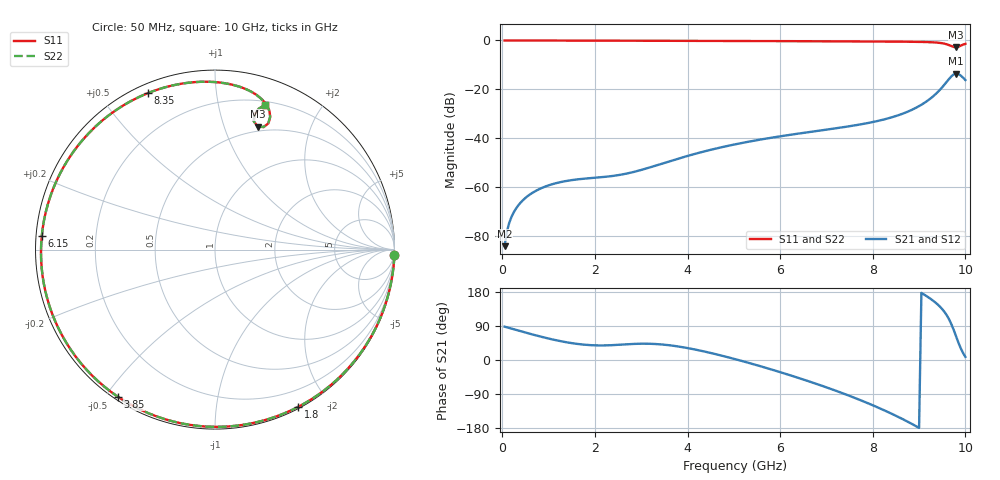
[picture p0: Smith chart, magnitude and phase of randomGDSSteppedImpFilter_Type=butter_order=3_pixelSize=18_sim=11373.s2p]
! freq	dB(S11)	phase(S11)	dB(S12)	phase(S12)
!  dB(S21)	phase(S21)	dB(S22)	phase(S22)
!S-par simulation data
#  GHz  S  DB  R 50
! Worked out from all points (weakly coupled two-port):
!   200 points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, 50 MHz to 10 GHz, reference 50 ohm
!   highest |S21| = -13.51 dB at 9.8 GHz (marker M1); lowest = -84.0 dB at 50 MHz (marker M2)
!   lowest |S11| = -2.8 dB at 9.8 GHz (marker M3), VSWR 6.29, Z = 22.5 + j65.2 ohm
!   |S11| at or under -10 dB: nowhere
!   |S22| runs from -2.8 to 0.0 dB; largest |S21 - S12| = 0
!   S11 on the Smith chart (normalised r, x): 50 MHz: 0, -64; 1.8 GHz: 0.02, -1.66; 3.85 GHz: 0.01, -0.54; 6.15 GHz: 0.02, +0.04; 8.35 GHz: 0.04, +0.66; 10 GHz: 0.23, +1.38
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0.05  -0.00 -1.8  -84.02 87.9  -84.02 87.9  -0.00 -1.8
0.25  -0.01 -8.9  -70.09 81.1  -70.09 81.1  -0.01 -8.9
0.4  -0.02 -14.3  -66.13 75.9  -66.13 75.9  -0.02 -14.3
0.55  -0.03 -19.5  -63.54 70.8  -63.54 70.8  -0.03 -19.5
1.05  -0.05 -37.0  -58.87 55.2  -58.87 55.2  -0.05 -37.0
1.75  -0.08 -60.5  -56.48 40.7  -56.48 40.7  -0.08 -60.5
1.8  -0.08 -62.1  -56.39 40.1  -56.39 40.1  -0.08 -62.1
2.6  -0.11 -87.3  -54.69 40.8  -54.69 40.8  -0.11 -87.3
3.4  -0.14 -110.8  -50.60 41.4  -50.60 41.4  -0.14 -110.8
3.85  -0.15 -123.4  -47.98 34.7  -47.98 34.7  -0.15 -123.4
4.45  -0.18 -139.7  -44.89 20.0  -44.89 20.0  -0.18 -139.7
5.05  -0.21 -155.6  -42.34 1.6  -42.34 1.6  -0.21 -155.6
6.15  -0.28 175.5  -38.72 -37.7  -38.72 -37.7  -0.28 175.5
6.7  -0.32 160.7  -37.22 -59.6  -37.22 -59.6  -0.32 160.8
7.5  -0.38 138.5  -35.03 -94.7  -35.03 -94.7  -0.38 138.5
8.35  -0.46 113.2  -31.72 -138.5  -31.72 -138.5  -0.46 113.2
9.1  -0.62 88.4  -25.68 173.4  -25.68 173.4  -0.62 88.4
9.4  -0.89 76.9  -21.12 146.7  -21.12 146.7  -0.89 77.0
9.6  -1.57 68.8  -16.82 117.6  -16.82 117.6  -1.57 68.9
9.8  -2.79 70.9  -13.51 62.0  -13.51 62.0  -2.78 71.0
9.9  -2.11 73.7  -14.34 30.9  -14.34 30.9  -2.10 73.8
10  -1.38 70.8  -16.17 8.1  -16.17 8.1  -1.38 70.9
